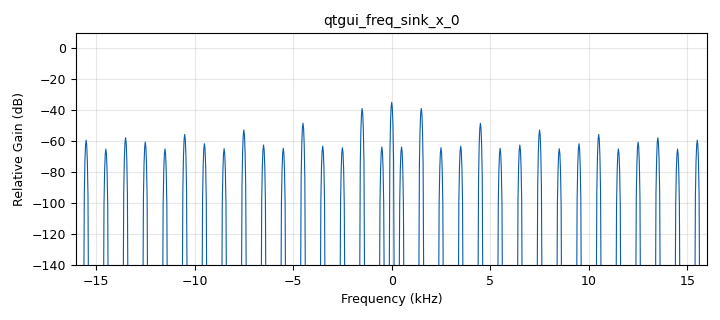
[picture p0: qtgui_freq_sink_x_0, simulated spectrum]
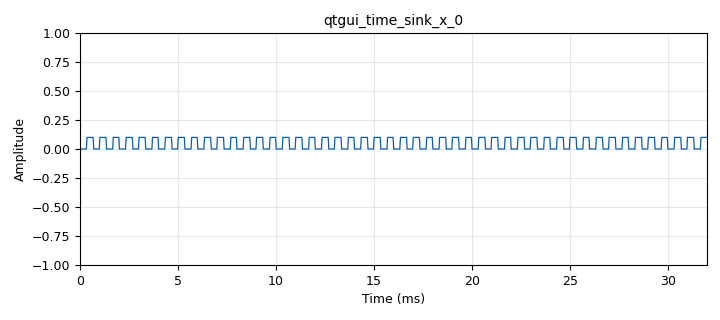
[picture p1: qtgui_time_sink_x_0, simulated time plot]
options:
  parameters:
    generate_options: qt_gui
    id: Lab_comu_1
    output_language: python
    title: Primer flujograma
  states: {}

blocks:
- name: Amplitude
  id: variable_qtgui_range
  parameters:
    start: '0'
    step: '1'
    stop: '5'
    value: '0'
  states: {state: disabled}
- name: Amplitude
  id: variable
  parameters:
    value: '0.1'
  states: {}
- name: frequency
  id: variable
  parameters:
    value: '1500'
  states: {}
- name: frequency
  id: variable_qtgui_range
  parameters:
    start: '-samp_rate/2'
    step: '1'
    stop: samp_rate/2
    value: '50'
  states: {state: disabled}
- name: samp_rate
  id: variable
  parameters:
    value: '32000'
  states: {}
- name: analog_sig_source_x_0
  id: analog_sig_source_x
  parameters:
    amp: Amplitude
    freq: frequency
    offset: '0'
    phase: '0'
    samp_rate: samp_rate
    type: float
    waveform: analog.GR_SQR_WAVE
  states: {}
- name: blocks_throttle2_0
  id: blocks_throttle2
  parameters:
    samples_per_second: samp_rate
    type: float
  states: {}
- name: qtgui_freq_sink_x_0
  id: qtgui_freq_sink_x
  parameters:
    bw: samp_rate
    fc: '0'
    fftsize: '1024'
    type: float
  states: {}
- name: qtgui_time_sink_x_0
  id: qtgui_time_sink_x
  parameters:
    size: '1024'
    srate: samp_rate
    type: float
  states: {}

connections:
- [analog_sig_source_x_0, '0', blocks_throttle2_0, '0']
- [blocks_throttle2_0, '0', qtgui_freq_sink_x_0, '0']
- [blocks_throttle2_0, '0', qtgui_time_sink_x_0, '0']

metadata:
  file_format: 1
  grc_version: 3.10.9.2
